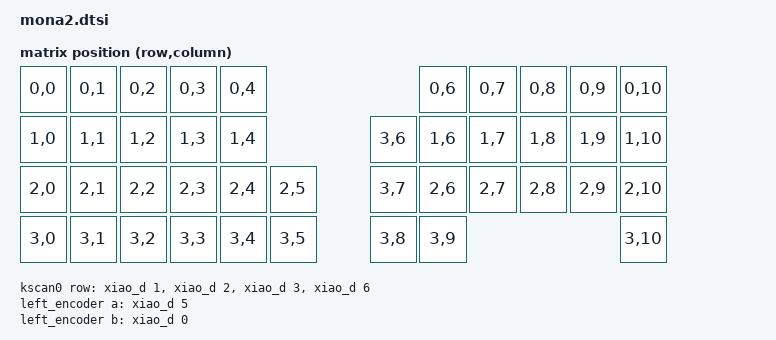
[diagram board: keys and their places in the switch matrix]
#include <dt-bindings/zmk/matrix_transform.h>
#include <input/processors.dtsi>
#include <dt-bindings/zmk/input_transform.h>
#include <physical_layouts.dtsi>

/ {
    chosen {
        zmk,physical-layout = &physical_layout0;
    };

    physical_layout0: physical_layout_0 {
        compatible = "zmk,physical-layout";
        display-name = "default_layout";

        kscan = <&kscan0>;
        transform = <&default_transform>;

        keys  //                     w   h    x    y     rot    rx    ry
            = <&key_physical_attrs 100 100    0    0       0     0     0>
            , <&key_physical_attrs 100 100  100    0       0     0     0>
            , <&key_physical_attrs 100 100  200    0       0     0     0>
            , <&key_physical_attrs 100 100  300    0       0     0     0>
            , <&key_physical_attrs 100 100  400    0       0     0     0>
            , <&key_physical_attrs 100 100  800    0       0     0     0>
            , <&key_physical_attrs 100 100  900    0       0     0     0>
            , <&key_physical_attrs 100 100 1000    0       0     0     0>
            , <&key_physical_attrs 100 100 1100    0       0     0     0>
            , <&key_physical_attrs 100 100 1200    0       0     0     0>
            , <&key_physical_attrs 100 100    0  100       0     0     0>
            , <&key_physical_attrs 100 100  100  100       0     0     0>
            , <&key_physical_attrs 100 100  200  100       0     0     0>
            , <&key_physical_attrs 100 100  300  100       0     0     0>
            , <&key_physical_attrs 100 100  400  100       0     0     0>
            , <&key_physical_attrs 100 100  700  100       0     0     0>
            , <&key_physical_attrs 100 100  800  100       0     0     0>
            , <&key_physical_attrs 100 100  900  100       0     0     0>
            , <&key_physical_attrs 100 100 1000  100       0     0     0>
            , <&key_physical_attrs 100 100 1100  100       0     0     0>
            , <&key_physical_attrs 100 100 1200  100       0     0     0>
            , <&key_physical_attrs 100 100    0  200       0     0     0>
            , <&key_physical_attrs 100 100  100  200       0     0     0>
            , <&key_physical_attrs 100 100  200  200       0     0     0>
            , <&key_physical_attrs 100 100  300  200       0     0     0>
            , <&key_physical_attrs 100 100  400  200       0     0     0>
            , <&key_physical_attrs 100 100  500  200       0     0     0>
            , <&key_physical_attrs 100 100  700  200       0     0     0>
            , <&key_physical_attrs 100 100  800  200       0     0     0>
            , <&key_physical_attrs 100 100  900  200       0     0     0>
            , <&key_physical_attrs 100 100 1000  200       0     0     0>
            , <&key_physical_attrs 100 100 1100  200       0     0     0>
            , <&key_physical_attrs 100 100 1200  200       0     0     0>
            , <&key_physical_attrs 100 100    0  300       0     0     0>
            , <&key_physical_attrs 100 100  100  300       0     0     0>
            , <&key_physical_attrs 100 100  200  300       0     0     0>
            , <&key_physical_attrs 100 100  300  300       0     0     0>
            , <&key_physical_attrs 100 100  400  300       0     0     0>
            , <&key_physical_attrs 100 100  500  300       0     0     0>
            , <&key_physical_attrs 100 100  700  300       0     0     0>
            , <&key_physical_attrs 100 100  800  300       0     0     0>
            , <&key_physical_attrs 100 100 1200  300       0     0     0>
            ;
    };

    default_transform: keymap_transform_0 {
        compatible = "zmk,matrix-transform";
        columns = <11>;
        rows = <4>;               
        map = <
            RC(0,0) RC(0,1) RC(0,2) RC(0,3) RC(0,4)                     RC(0,6) RC(0,7) RC(0,8) RC(0,9) RC(0,10)
            RC(1,0) RC(1,1) RC(1,2) RC(1,3) RC(1,4)             RC(3,6) RC(1,6) RC(1,7) RC(1,8) RC(1,9) RC(1,10)
            RC(2,0) RC(2,1) RC(2,2) RC(2,3) RC(2,4) RC(2,5)     RC(3,7) RC(2,6) RC(2,7) RC(2,8) RC(2,9) RC(2,10)
            RC(3,0) RC(3,1) RC(3,2) RC(3,3) RC(3,4) RC(3,5)     RC(3,8) RC(3,9)                         RC(3,10)         
        >;
    };
    
    kscan0: kscan {
        compatible = "zmk,kscan-gpio-matrix";
        label = "KSCAN";
        diode-direction = "col2row";
            row-gpios
                = <&xiao_d 1 (GPIO_ACTIVE_HIGH | GPIO_PULL_DOWN)> 
                , <&xiao_d 2 (GPIO_ACTIVE_HIGH | GPIO_PULL_DOWN)> 
                , <&xiao_d 3 (GPIO_ACTIVE_HIGH | GPIO_PULL_DOWN)> 
                , <&xiao_d 6 (GPIO_ACTIVE_HIGH | GPIO_PULL_DOWN)> 			
                ;
    };

    //右手軌跡球自動切層設定
    //  require-prior-idle-ms: 打字後至少500ms沒按鍵才會觸發自動切層，防止打字時誤觸
    //  excluded-positions: G(14)和B(25)為滑鼠鍵，按下時不會讓自動切層計時器重置
    /omit-if-no-ref/ zip_temp_layer: zip_temp_layer {
        compatible = "zmk,input-processor-temp-layer";
        #input-processor-cells = <2>;
        require-prior-idle-ms = <180>;  //打字後180ms內不觸發自動切層
        excluded-positions = <14 25>;
    };

    trackball_central_listener: trackball_central_listener {
        compatible = "zmk,input-listener";
        status = "disabled";
        input-processors =
            <&zip_xy_transform INPUT_TRANSFORM_X_INVERT>,         //X軸反転
            <&zip_temp_layer 5 1500>;                             //軌跡球移動時自動切到MOUSE層，1.5秒後自動退出（原800ms太短）
    };

    left_encoder: encoder_left {
        compatible = "alps,ec11";
        a-gpios = <&xiao_d 5 (GPIO_ACTIVE_HIGH | GPIO_PULL_UP)>;
        b-gpios = <&xiao_d 0 (GPIO_ACTIVE_HIGH | GPIO_PULL_UP)>;
        steps = <80>;  //改為80以匹配ZMK官方4:1比例，改善快轉穩定性
        status = "disabled";
    };

    right_encoder: encoder_right {
        status = "disabled";
    };

    sensors: sensors {
        compatible = "zmk,keymap-sensors";
        sensors = <&left_encoder &right_encoder>;
        triggers-per-rotation = <20>;  //每圈觸發20次（官方標準值）
    };

};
